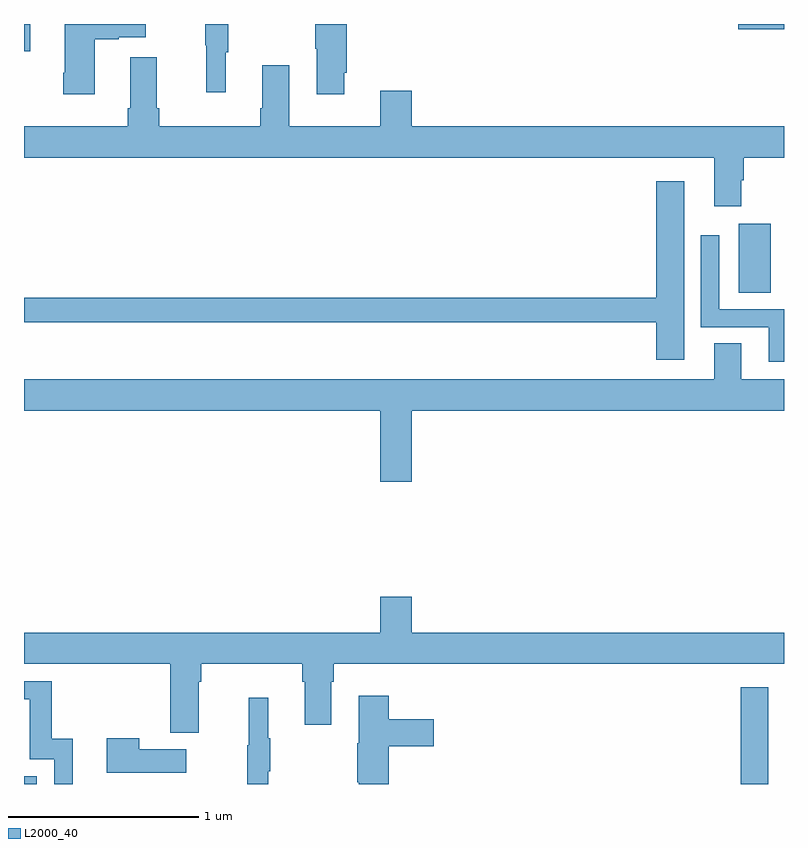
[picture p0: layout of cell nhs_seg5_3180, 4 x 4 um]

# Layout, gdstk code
import gdstk
lib = gdstk.Library(unit=1e-6, precision=1e-09)
def R(c, l, rs):  # rectangles x0, y0, x1, y1
    for r in rs: c.add(gdstk.rectangle(r[:2], r[2:], *l))
def P(c, l, *ps):  # polygons
    for p in ps: c.add(gdstk.Polygon(p, *l))
L2000_40 = (2000, 40)

nhs_seg5_3180 = lib.new_cell('nhs_seg5_3180')
R(nhs_seg5_3180, L2000_40, [(295,850.799,295.068,850.839), (298.772,850.799,298.918,851.308), (298.763,853.384,298.93,853.747), (295,854.655,295.034,854.799), (298.758,854.771,299,854.799)])
P(nhs_seg5_3180, L2000_40, [(296.063,854.651),(296.074,854.651),(296.074,854.799),(295.953,854.799),(295.953,854.688),(295.96,854.688),(295.96,854.439),(296.063,854.439)],
  [(295.372,854.719),(295.499,854.719),(295.499,854.729),(295.642,854.729),(295.642,854.799),(295.214,854.799),(295.214,854.542),(295.207,854.542),(295.207,854.43),(295.372,854.43)],
  [(296.686,854.542),(296.699,854.542),(296.699,854.799),(296.533,854.799),(296.533,854.668),(296.54,854.668),(296.54,854.43),(296.686,854.43)],
  [(298.774,853.976),(298.787,853.976),(298.787,854.096),(299,854.096),(299,854.26),(297.04,854.26),(297.04,854.449),(296.876,854.449),(296.876,854.26),(296.395,854.26),(296.395,854.581),(296.255,854.581),(296.255,854.356),(296.243,854.356),(296.243,854.26),(295.712,854.26),(295.712,854.356),(295.699,854.356),(295.699,854.623),(295.559,854.623),(295.559,854.356),(295.547,854.356),(295.547,854.26),(295,854.26),(295,854.096),(298.634,854.096),(298.634,853.839),(298.774,853.839)],
  [(298.474,853.972),(298.328,853.972),(298.328,853.358),(295,853.358),(295,853.23),(298.328,853.23),(298.328,853.032),(298.474,853.032)],
  [(299,853.299),(298.659,853.299),(298.659,853.687),(298.563,853.687),(298.563,853.203),(298.919,853.203),(298.919,853.022),(299,853.022)],
  [(297.04,852.764),(299,852.764),(299,852.928),(298.774,852.928),(298.774,853.118),(298.634,853.118),(298.634,852.928),(295,852.928),(295,852.764),(296.876,852.764),(296.876,852.39),(297.04,852.39)],
  [(295.921,851.336),(295.934,851.336),(295.934,851.432),(296.465,851.432),(296.465,851.336),(296.477,851.336),(296.477,851.112),(296.617,851.112),(296.617,851.336),(296.63,851.336),(296.63,851.432),(299,851.432),(299,851.596),(297.04,851.596),(297.04,851.785),(296.876,851.785),(296.876,851.596),(295,851.596),(295,851.432),(295.769,851.432),(295.769,851.07),(295.921,851.07)],
  [(295.256,851.038),(295.145,851.038),(295.145,851.34),(295,851.34),(295,851.244),(295.029,851.244),(295.029,850.929),(295.158,850.929),(295.158,850.799),(295.256,850.799)],
  [(296.921,850.997),(297.157,850.997),(297.157,851.139),(296.921,851.139),(296.921,851.263),(296.762,851.263),(296.762,851.013),(296.755,851.013),(296.755,850.807),(296.762,850.807),(296.762,850.799),(296.921,850.799)],
  [(296.285,850.867),(296.296,850.867),(296.296,851.041),(296.285,851.041),(296.285,851.254),(296.182,851.254),(296.182,851.004),(296.175,851.004),(296.175,850.799),(296.285,850.799)],
  [(295.855,850.981),(295.607,850.981),(295.607,851.041),(295.436,851.041),(295.436,850.859),(295.855,850.859)])

lib.write_gds('nhs_seg5_3180.gds')
